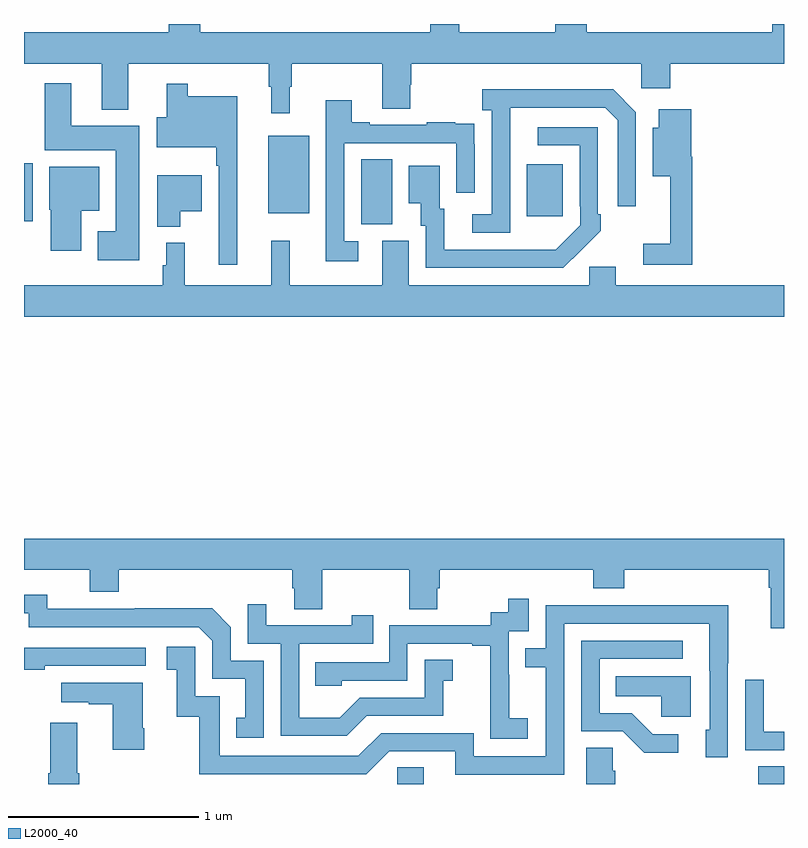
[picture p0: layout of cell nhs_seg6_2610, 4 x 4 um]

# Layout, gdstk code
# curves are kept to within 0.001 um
import gdstk
lib = gdstk.Library(unit=1e-6, precision=1e-09)
def R(c, l, rs):  # rectangles x0, y0, x1, y1
    for r in rs: c.add(gdstk.rectangle(r[:2], r[2:], *l))
def P(c, l, *ps):  # polygons
    for p in ps: c.add(gdstk.Polygon(p, *l))
L2000_40 = (2000, 40)

nhs_seg6_2610 = lib.new_cell('nhs_seg6_2610')
R(nhs_seg6_2610, L2000_40, [(266.964,987.5,267.103,987.587), (268.865,987.5,269,987.593), (266.774,990.445,266.938,990.788), (265,990.461,265.045,990.766), (267.647,990.489,267.835,990.763), (266.285,990.503,266.5,990.913)])
P(nhs_seg6_2610, L2000_40, [(265.928,991.5),(265.763,991.5),(265.763,991.456),(265,991.456),(265,991.292),(265.409,991.292),(265.409,991.049),(265.549,991.049),(265.549,991.292),(266.289,991.292),(266.289,991.169),(266.3,991.169),(266.3,991.029),(266.399,991.029),(266.399,991.169),(266.41,991.169),(266.41,991.292),(266.885,991.292),(266.885,991.054),(267.033,991.054),(267.033,991.179),(267.038,991.179),(267.038,991.292),(268.248,991.292),(268.248,991.161),(268.4,991.161),(268.4,991.292),(269,991.292),(269,991.5),(268.937,991.5),(268.937,991.456),(267.962,991.456),(267.962,991.5),(267.797,991.5),(267.797,991.456),(267.29,991.456),(267.29,991.5),(267.138,991.5),(267.138,991.456),(265.928,991.456)],
  [(265.606,990.964),(265.249,990.964),(265.249,991.189),(265.109,991.189),(265.109,990.836),(265.484,990.836),(265.484,990.409),(265.389,990.409),(265.389,990.257),(265.606,990.257)],
  [(266.122,991.12),(265.861,991.12),(265.861,991.186),(265.751,991.186),(265.751,991.009),(265.698,991.009),(265.698,990.851),(266.013,990.851),(266.013,990.755),(266.025,990.755),(266.025,990.234),(266.122,990.234)],
  [(267.558,990.859),(267.559,991.059),(268.059,991.059),(268.125,990.993),(268.125,990.54),(268.221,990.54),(268.221,991.035),(268.1,991.156),(267.411,991.156),(267.411,991.046),(267.462,991.046),(267.462,990.498),(267.36,990.498),(267.36,990.402),(267.558,990.402)],
  [(266.758,990.357),(266.685,990.357),(266.685,990.873),(267.276,990.873),(267.276,990.612),(267.372,990.612),(267.372,990.866),(267.371,990.866),(267.371,990.975),(267.269,990.975),(267.269,990.982),(267.121,990.982),(267.121,990.969),(266.821,990.969),(266.821,990.982),(266.725,990.982),(266.725,991.099),(266.589,991.099),(266.589,990.252),(266.758,990.252)],
  [(268.517,990.802),(268.511,990.802),(268.511,991.051),(268.34,991.051),(268.34,990.955),(268.31,990.955),(268.31,990.698),(268.4,990.698),(268.4,990.343),(268.26,990.343),(268.26,990.234),(268.517,990.234)],
  [(267.929,990.307),(267.93,990.306),(268.035,990.411),(268.035,990.499),(268.02,990.499),(268.02,990.957),(267.705,990.957),(267.705,990.861),(267.924,990.861),(267.924,990.541),(267.927,990.541),(267.927,990.441),(267.799,990.313),(267.211,990.312),(267.211,990.528),(267.187,990.528),(267.187,990.754),(267.026,990.754),(267.026,990.557),(267.089,990.557),(267.089,990.438),(267.114,990.438),(267.114,990.216),(267.838,990.216)],
  [(265.3,990.518),(265.396,990.518),(265.396,990.748),(265.133,990.748),(265.133,990.522),(265.142,990.522),(265.142,990.306),(265.3,990.306)],
  [(265.822,990.515),(265.936,990.515),(265.936,990.703),(265.7,990.703),(265.7,990.434),(265.822,990.434)],
  [(266.3,990.358),(266.3,990.124),(265.847,990.124),(265.847,990.349),(265.748,990.349),(265.748,990.231),(265.729,990.231),(265.729,990.124),(265,990.124),(265,989.96),(269,989.96),(269,990.124),(268.114,990.124),(268.114,990.222),(267.975,990.222),(267.975,990.124),(267.025,990.124),(267.025,990.36),(266.885,990.36),(266.885,990.124),(266.399,990.124),(266.399,990.358)],
  [(265,988.628),(265.346,988.628),(265.346,988.511),(265.499,988.511),(265.499,988.628),(266.411,988.628),(266.411,988.53),(266.423,988.53),(266.423,988.42),(266.571,988.42),(266.571,988.628),(267.028,988.628),(267.028,988.42),(267.175,988.42),(267.175,988.53),(267.188,988.53),(267.188,988.628),(267.995,988.628),(267.995,988.529),(268.16,988.529),(268.16,988.628),(268.919,988.628),(268.919,988.532),(268.931,988.532),(268.931,988.319),(269,988.319),(269,988.792),(265,988.792)],
  [(266.262,988.149),(266.088,988.149),(266.088,988.326),(265.99,988.424),(265.582,988.424),(265.582,988.422),(265.122,988.422),(265.122,988.495),(265,988.495),(265,988.398),(265.026,988.398),(265.026,988.326),(265.92,988.326),(265.992,988.254),(265.992,988.053),(266.165,988.053),(266.165,987.849),(266.116,987.849),(266.116,987.744),(266.262,987.744)],
  [(267.652,987.847),(267.554,987.847),(267.554,988.076),(267.552,988.076),(267.552,988.305),(267.657,988.305),(267.657,988.474),(267.549,988.474),(267.549,988.404),(267.456,988.404),(267.456,988.335),(266.922,988.335),(266.922,988.14),(266.533,988.14),(266.533,988.017),(266.673,988.017),(266.673,988.044),(267.018,988.044),(267.018,988.239),(267.359,988.239),(267.359,988.227),(267.455,988.227),(267.455,987.943),(267.454,987.943),(267.454,987.737),(267.652,987.737)],
  [(266.803,987.858),(267.207,987.858),(267.207,988.043),(267.256,988.043),(267.256,988.153),(267.108,988.153),(267.108,987.954),(266.766,987.954),(266.662,987.85),(266.448,987.85),(266.448,988.239),(266.837,988.239),(266.837,988.387),(266.726,988.387),(266.726,988.335),(266.275,988.335),(266.275,988.447),(266.178,988.447),(266.178,988.239),(266.352,988.239),(266.352,987.753),(266.698,987.753)],
  [(267.843,988.344),(268.607,988.344),(268.608,987.786),(268.589,987.786),(268.589,987.642),(268.704,987.642),(268.704,988.135),(268.707,988.135),(268.707,988.442),(268.243,988.442),(268.243,988.44),(267.747,988.44),(267.747,988.215),(267.637,988.215),(267.637,988.114),(267.747,988.114),(267.747,987.645),(267.366,987.645),(267.366,987.768),(266.88,987.768),(266.76,987.648),(266.031,987.648),(266.031,987.963),(265.902,987.963),(265.902,988.222),(265.752,988.222),(265.752,988.101),(265.805,988.101),(265.805,987.855),(265.923,987.855),(265.923,987.552),(266.802,987.552),(266.922,987.672),(267.269,987.672),(267.269,987.549),(267.843,987.549)],
  [(268.444,987.762),(268.309,987.762),(268.198,987.873),(268.029,987.873),(268.029,988.158),(268.468,988.158),(268.468,988.254),(267.933,988.254),(267.933,987.777),(268.152,987.777),(268.265,987.665),(268.444,987.665)],
  [(265.109,988.122),(265.642,988.122),(265.642,988.218),(265,988.218),(265,988.102),(265.109,988.102)],
  [(268.51,988.066),(268.114,988.066),(268.114,987.962),(268.353,987.962),(268.353,987.854),(268.51,987.854)],
  [(269,987.774),(268.893,987.774),(268.893,988.048),(268.797,988.048),(268.797,987.678),(269,987.678)],
  [(265.632,987.793),(265.624,987.793),(265.624,988.033),(265.197,988.033),(265.197,987.929),(265.34,987.929),(265.34,987.919),(265.466,987.919),(265.466,987.681),(265.632,987.681)],
  [(265.292,987.556),(265.279,987.556),(265.279,987.823),(265.139,987.823),(265.139,987.556),(265.127,987.556),(265.127,987.5),(265.292,987.5)],
  [(268.112,987.569),(268.098,987.569),(268.098,987.692),(267.959,987.692),(267.959,987.5),(268.112,987.5)])

lib.write_gds('nhs_seg6_2610.gds')
